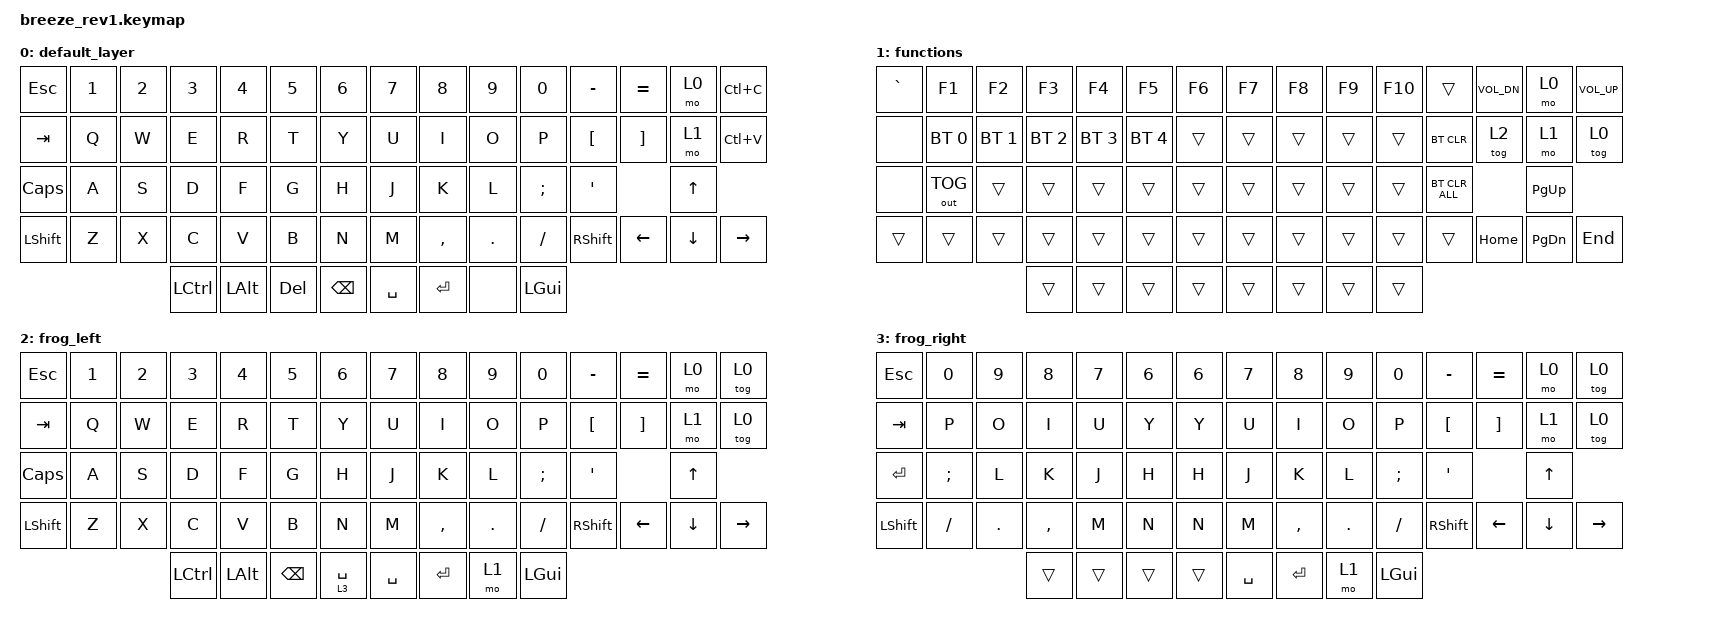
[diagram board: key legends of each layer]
/*
 * Copyright (c) 2022 The ZMK Contributors
 *
 * SPDX-License-Identifier: MIT
 */

#include <behaviors.dtsi>
#include <dt-bindings/zmk/keys.h>
#include <dt-bindings/zmk/bt.h>
#include <dt-bindings/zmk/ext_power.h>
#include <dt-bindings/zmk/outputs.h>

/ {
    keymap {
        compatible = "zmk,keymap";

        default_layer {
            // Ref: https://zmkfirmware.dev/docs/codes/
            // ----------------------------------------------------------------------------------------------------------------------------------
            // |  ESC   |   1   |   2  |    3   |   4   |  5   |                   |  6   |    7     |  8  |  9  |  0  |   -   |   |  =  | LY0  | COPY |
            // |  TAB   |   Q   |   W  |    E   |   R   |  T   |                   |  Y   |    U     |  I  |  O  |  P  |   [   |   |  ]  | LY1  | PST  |
            // |  CAPS  |   A   |   S  |    D   |   F   |  G   |                   |  H   |    J     |  K  |  L  |  ;  |   '   |   |     |  UP  |      |
            // | SHIFT  |   Z   |   X  |    C   |   V   |  B   |                   |  N   |    M     |  ,  |  .  |  /  | SHIFT |   |  L  |  DN  |  R   |
            //                         |  CTRL  |  ALT  | DEL  | BKSP |    | SPACE | ETER | mo(FUNC) | WIN |

            bindings = <
                &kp ESC   &kp N1  &kp N2     &kp N3        &kp N4      &kp N5                                      &kp N6     &kp N7  &kp N8        &kp N9    &kp N0    &kp MINUS   &kp EQUAL  &mo 0   &kp LC(C)
                &kp TAB   &kp Q   &kp W      &kp E         &kp R       &kp T                                       &kp Y      &kp U   &kp I         &kp O     &kp P     &kp LBKT    &kp RBKT   &mo 1   &kp LC(V)
               &kp CAPS   &kp A   &kp S      &kp D         &kp F       &kp G                                       &kp H      &kp J   &kp K         &kp L     &kp SEMI  &kp APOS               &kp UP
              &kp LSHFT   &kp Z   &kp X      &kp C         &kp V       &kp B                                       &kp N      &kp M   &kp COMMA     &kp DOT   &kp FSLH  &kp RSHFT   &kp LEFT  &kp DOWN &kp RIGHT
                                             &kp LCTRL  &kp LEFT_ALT  &kp DELETE  &kp BACKSPACE         &kp SPACE  &kp ENTER  &none   &kp LEFT_GUI
            >;
        };

        functions {
            // ---------------------------------------------------------------------------------------------------------------------------------- 
            // |   `   |   F1  |  F2 |  F3  |  F4  |  F5  |                        |  F6  |  F7   |  F8   |  F9  |  F10  |       | | Vol- | LY0 | Vol+ | 
            // |       |  BT1  | BT2 |  BT3 |  BT4 |  BT5 |                        |      |       |       |      |       |blu_clr| | Prev | LY1 | Next | 
            // | O_USB | O_BLE |     |      |      |      |                        |      |       |       |      |       |clr_all| |      | PgUp |      | 
            // |       |       |     |      |      |      |                        |      |       |       |      |       |       | | Home | PgDn | End  | 
            //                       |      |      |      |        |      |        |      |       |       |

            bindings = <
                 &kp `   &kp F1        &kp F2        &kp F3        &kp F4        &kp F5                                &kp F6  &kp F7  &kp F8  &kp F9  &kp F10      &trans      &kp C_VOL_DN  &mo 0      &kp C_VOL_UP
                 &none   &bt BT_SEL 0  &bt BT_SEL 1  &bt BT_SEL 2  &bt BT_SEL 3  &bt BT_SEL 4                          &trans  &trans  &trans  &trans   &trans      &bt BT_CLR  &tog 2        &mo 1      &tog 0
                 &none   &out OUT_TOG  &trans        &trans        &trans        &trans                                &trans  &trans  &trans  &trans   &trans      &bt BT_CLR_ALL            &kp PG_UP
                &trans   &trans        &trans        &trans        &trans        &trans                                &trans  &trans  &trans  &trans   &trans      &trans      &kp HOME      &kp PG_DN  &kp END
                                                     &trans        &trans        &trans        &trans          &trans  &trans  &trans  &trans
            >;
        };

        frog_left {
            // Ref: https://zmkfirmware.dev/docs/codes/
            // ----------------------------------------------------------------------------------------------------------------------------------
            // |  ESC   |   1   |   2  |    3   |   4   |  5   |                   |  6   |    7     |  8  |  9  |  0  |   -   |   |  =  | LY0  | COPY |
            // |  TAB   |   Q   |   W  |    E   |   R   |  T   |                   |  Y   |    U     |  I  |  O  |  P  |   [   |   |  ]  | LY1  | PST  |
            // |  CAPS  |   A   |   S  |    D   |   F   |  G   |                   |  H   |    J     |  K  |  L  |  ;  |   '   |   |     |  UP  |      |
            // | SHIFT  |   Z   |   X  |    C   |   V   |  B   |                   |  N   |    M     |  ,  |  .  |  /  | SHIFT |   |  L  |  DN  |  R   |
            //                         |  CTRL  |  ALT  | DEL  | BKSP |    | SPACE | ETER | mo(FUNC) | WIN |

            bindings = <
                &kp ESC   &kp N1  &kp N2     &kp N3        &kp N4      &kp N5                                      &kp N6     &kp N7  &kp N8        &kp N9    &kp N0    &kp MINUS   &kp EQUAL  &mo 0   &tog 0
                &kp TAB   &kp Q   &kp W      &kp E         &kp R       &kp T                                       &kp Y      &kp U   &kp I         &kp O     &kp P     &kp LBKT    &kp RBKT   &mo 1   &tog 0
               &kp CAPS   &kp A   &kp S      &kp D         &kp F       &kp G                                       &kp H      &kp J   &kp K         &kp L     &kp SEMI  &kp APOS               &kp UP
              &kp LSHFT   &kp Z   &kp X      &kp C         &kp V       &kp B                                       &kp N      &kp M   &kp COMMA     &kp DOT   &kp FSLH  &kp RSHFT   &kp LEFT  &kp DOWN &kp RIGHT
                                             &kp LCTRL  &kp LEFT_ALT  &kp BACKSPACE  &lt 3 SPACE        &kp SPACE  &kp ENTER  &mo 1   &kp LEFT_GUI
            >;
        };

        frog_right {
            // Ref: https://zmkfirmware.dev/docs/codes/
            // ----------------------------------------------------------------------------------------------------------------------------------
            // |  ESC   |   1   |   2  |    3   |   4   |  5   |                   |  6   |    7     |  8  |  9  |  0  |   -   |   |  =  | LY0  | COPY |
            // |  TAB   |   Q   |   W  |    E   |   R   |  T   |                   |  Y   |    U     |  I  |  O  |  P  |   [   |   |  ]  | LY1  | PST  |
            // |  CAPS  |   A   |   S  |    D   |   F   |  G   |                   |  H   |    J     |  K  |  L  |  ;  |   '   |   |     |  UP  |      |
            // | SHIFT  |   Z   |   X  |    C   |   V   |  B   |                   |  N   |    M     |  ,  |  .  |  /  | SHIFT |   |  L  |  DN  |  R   |
            //                         |  CTRL  |  ALT  | DEL  | BKSP |    | SPACE | ETER | mo(FUNC) | WIN |

            bindings = <
                &kp ESC   &kp N0     &kp N9     &kp N8        &kp N7      &kp N6                                      &kp N6     &kp N7  &kp N8        &kp N9    &kp N0    &kp MINUS   &kp EQUAL  &mo 0   &tog 0
                &kp TAB   &kp P      &kp O      &kp I         &kp U       &kp Y                                       &kp Y      &kp U   &kp I         &kp O     &kp P     &kp LBKT    &kp RBKT   &mo 1   &tog 0
              &kp ENTER   &kp SEMI   &kp L      &kp K         &kp J       &kp H                                       &kp H      &kp J   &kp K         &kp L     &kp SEMI  &kp APOS               &kp UP
              &kp LSHFT   &kp FSLH   &kp DOT    &kp COMMA     &kp M       &kp N                                       &kp N      &kp M   &kp COMMA     &kp DOT   &kp FSLH  &kp RSHFT   &kp LEFT  &kp DOWN &kp RIGHT
                                                &trans        &trans      &trans  &trans                   &kp SPACE  &kp ENTER  &mo 1   &kp LEFT_GUI
            >;
        };
    };
};
